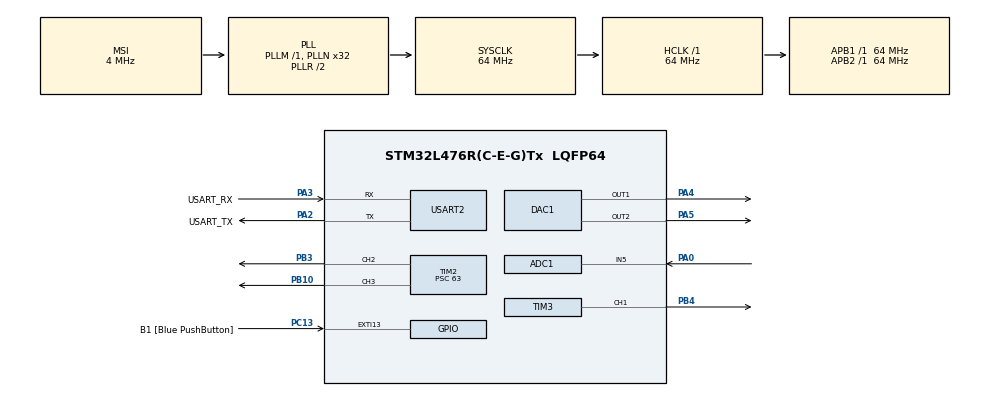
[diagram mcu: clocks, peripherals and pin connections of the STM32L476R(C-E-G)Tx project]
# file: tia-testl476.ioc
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ADC1.Channel-1\#ChannelRegularConversion=ADC_CHANNEL_5
ADC1.ClockPrescaler=ADC_CLOCK_ASYNC_DIV2
ADC1.DMAContinuousRequests=DISABLE
ADC1.EnableRegularConversion=ENABLE
ADC1.ExternalTrigConv=ADC_SOFTWARE_START
ADC1.NbrOfConversion=1
ADC1.NbrOfConversionFlag=1
ADC1.OffsetNumber-1\#ChannelRegularConversion=ADC_OFFSET_NONE
ADC1.Rank-1\#ChannelRegularConversion=1
ADC1.SamplingTime-1\#ChannelRegularConversion=ADC_SAMPLETIME_2CYCLES_5
ADC1.master=1
DAC1.DAC_Channel-DAC_OUT2=DAC_CHANNEL_2
DAC1.DAC_Trigger-DAC_OUT2=DAC_TRIGGER_T6_TRGO
Dma.ADC1.0.Direction=DMA_PERIPH_TO_MEMORY
Dma.ADC1.0.Instance=DMA1_Channel1
Dma.ADC1.0.MemDataAlignment=DMA_MDATAALIGN_HALFWORD
Dma.ADC1.0.MemInc=DMA_MINC_ENABLE
Dma.ADC1.0.Mode=DMA_CIRCULAR
Dma.ADC1.0.PeriphDataAlignment=DMA_PDATAALIGN_HALFWORD
Dma.ADC1.0.PeriphInc=DMA_PINC_DISABLE
Dma.ADC1.0.Priority=DMA_PRIORITY_LOW
Dma.DAC_CH2.1.Direction=DMA_MEMORY_TO_PERIPH
Dma.DAC_CH2.1.Instance=DMA1_Channel4
Dma.DAC_CH2.1.MemDataAlignment=DMA_MDATAALIGN_WORD
Dma.DAC_CH2.1.MemInc=DMA_MINC_ENABLE
Dma.DAC_CH2.1.Mode=DMA_CIRCULAR
Dma.DAC_CH2.1.PeriphDataAlignment=DMA_PDATAALIGN_WORD
Dma.DAC_CH2.1.PeriphInc=DMA_PINC_DISABLE
Dma.DAC_CH2.1.Priority=DMA_PRIORITY_LOW
Dma.Request0=ADC1
Dma.Request1=DAC_CH2
Mcu.Family=STM32L4
Mcu.Name=STM32L476R(C-E-G)Tx
Mcu.Package=LQFP64
NVIC.ADC1_2_IRQn=true\:0\:0\:false\:false\:true\:true\:true\:true
NVIC.DMA1_Channel1_IRQn=true\:0\:0\:false\:false\:true\:false\:true\:true
NVIC.DMA1_Channel4_IRQn=true\:0\:0\:false\:false\:true\:false\:true\:true
NVIC.PriorityGroup=NVIC_PRIORITYGROUP_4
NVIC.TIM6_DAC_IRQn=true\:0\:0\:false\:false\:true\:true\:true\:true
PA0.Signal=ADCx_IN5
PA13\ (JTMS-SWDIO).GPIO_Label=TMS
PA13\ (JTMS-SWDIO).Signal=SYS_JTMS-SWDIO
PA14\ (JTCK-SWCLK).GPIO_Label=TCK
PA14\ (JTCK-SWCLK).Signal=SYS_JTCK-SWCLK
PA2.GPIO_Label=USART_TX
PA2.GPIO_Mode=GPIO_MODE_AF_PP
PA2.GPIO_PuPd=GPIO_NOPULL
PA2.GPIO_Speed=GPIO_SPEED_FREQ_VERY_HIGH
PA2.Mode=Asynchronous
PA2.Signal=USART2_TX
PA3.GPIO_Label=USART_RX
PA3.GPIO_Mode=GPIO_MODE_AF_PP
PA3.GPIO_PuPd=GPIO_NOPULL
PA3.GPIO_Speed=GPIO_SPEED_FREQ_VERY_HIGH
PA3.Mode=Asynchronous
PA3.Signal=USART2_RX
PA4.Signal=COMP_DAC11_group
PA5.Signal=COMP_DAC12_group
PB10.Signal=S_TIM2_CH3
PB3\ (JTDO-TRACESWO).Signal=S_TIM2_CH2
PB4\ (NJTRST).Signal=S_TIM3_CH1
PC13.GPIO_Label=B1 [Blue PushButton]
PC13.GPIO_ModeDefaultEXTI=GPIO_MODE_IT_FALLING
PC13.GPIO_PuPd=GPIO_NOPULL
PC13.Signal=GPXTI13
PC14-OSC32_IN\ (PC14).Signal=RCC_OSC32_IN
PC15-OSC32_OUT\ (PC15).Signal=RCC_OSC32_OUT
PH0-OSC_IN\ (PH0).Signal=RCC_OSC_IN
PH1-OSC_OUT\ (PH1).Signal=RCC_OSC_OUT
ProjectManager.HeapSize=0x200
ProjectManager.StackSize=0x400
ProjectManager.TargetToolchain=STM32CubeIDE
RCC.ADCFreq_Value=8000000
RCC.AHBFreq_Value=64000000
RCC.APB1Freq_Value=64000000
RCC.APB1TimFreq_Value=64000000
RCC.APB2Freq_Value=64000000
RCC.APB2TimFreq_Value=64000000
RCC.CortexFreq_Value=64000000
RCC.HCLKFreq_Value=64000000
RCC.HSE_VALUE=8000000
RCC.HSI_VALUE=16000000
RCC.LSE_VALUE=32768
RCC.MSI_VALUE=4000000
RCC.PLLN=32
RCC.PLLSAI1N=16
RCC.PLLSAI1R=RCC_PLLR_DIV8
RCC.PREFETCH_ENABLE=1
RCC.SYSCLKFreq_VALUE=64000000
RCC.SYSCLKSource=RCC_SYSCLKSOURCE_PLLCLK
RCC.USBFreq_Value=32000000
RCC.VCOOutputFreq_Value=128000000
SH.ADCx_IN5.0=ADC1_IN5,IN5-Single-Ended
SH.COMP_DAC11_group.0=DAC1_OUT1,DAC_OUT1
SH.COMP_DAC12_group.0=DAC1_OUT2,DAC_OUT2
SH.S_TIM2_CH2.0=TIM2_CH2,PWM Generation2 CH2
SH.S_TIM2_CH3.0=TIM2_CH3,PWM Generation3 CH3
SH.S_TIM3_CH1.0=TIM3_CH1,PWM Generation1 CH1
TIM1.Period=9
TIM1.Prescaler=624
TIM1.TIM_MasterOutputTrigger=TIM_TRGO_UPDATE
TIM1.TIM_MasterOutputTrigger2=TIM_TRGO2_UPDATE
TIM1.TIM_MasterSlaveMode=TIM_MASTERSLAVEMODE_ENABLE
TIM2.Channel-PWM\ Generation2\ CH2=TIM_CHANNEL_2
TIM2.Channel-PWM\ Generation3\ CH3=TIM_CHANNEL_3
TIM2.Period=4999
TIM2.Prescaler=63
TIM3.Channel-PWM\ Generation1\ CH1=TIM_CHANNEL_1
TIM3.Period=4999
TIM3.Prescaler=63
TIM6.Period=4
TIM6.Prescaler=63
TIM6.TIM_MasterOutputTrigger=TIM_TRGO_UPDATE
USART2.VirtualMode-Asynchronous=VM_ASYNC
VP_TIM1_VS_ClockSourceINT.Mode=Internal
VP_TIM2_VS_ClockSourceINT.Mode=Internal
VP_TIM3_VS_ClockSourceINT.Mode=Internal
VP_TIM6_VS_ClockSourceINT.Mode=Enable_Timer
board=NUCLEO-L476RG

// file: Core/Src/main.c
/* USER CODE BEGIN Header */
/**
  ******************************************************************************
  * @file           : main.c
  * @brief          : Main program body
  ******************************************************************************
  * @attention
  *
  * Copyright (c) 2025 STMicroelectronics.
  * All rights reserved.
  *
  * This software is licensed under terms that can be found in the LICENSE file
  * in the root directory of this software component.
  * If no LICENSE file comes with this software, it is provided AS-IS.
  *
  ******************************************************************************
  */
/* USER CODE END Header */
#include "main.h"

/* USER CODE BEGIN Includes */
#define ARM_MATH_CM4
#include "arm_math.h"
#include "math.h"
#define PI 3.1415926
//amplitude of the dither voltage
#define DITHER_VOLTAGE 0.025
// sampling frequency must be multiple of the FFT_BUFFER_SIZE
#define FFT_BUFFER_SIZE 2048
// sampling frequency must be multiple of the FFT_BUFFER_SIZE
#define SAMPLE_FREQ 10240
// amount of times the fft is averaged before correcting the MZM dc bias
#define FFT_AVRAGE_COUNT 100
//Set 0 to disable polarization control
#define EnablePolControl 0
// the size of the steps the initial MZM bias sweep takes in dac values 0 = 0V, 4096 = 12V
#define STEP_SIZE_BIAS_SWEEP 16
// the size of the MZM bias correction when the algorithm runs 0 = 0V, 4096 = 12V
#define BIAS_CORRECTION_FACTOR 2
/* USER CODE END Includes */

ADC_HandleTypeDef hadc1;
DMA_HandleTypeDef hdma_adc1;

DAC_HandleTypeDef hdac1;
DMA_HandleTypeDef hdma_dac_ch2;

TIM_HandleTypeDef htim1;
TIM_HandleTypeDef htim2;
TIM_HandleTypeDef htim3;
TIM_HandleTypeDef htim6;

UART_HandleTypeDef huart2;

/* USER CODE BEGIN PV */

// calculate the sinewave of the dithersignal
uint32_t sine_val[100];
void calcsin ()
{
	for (int i=0; i<100; i++)
	{
    sine_val[i] = ((sin(i * 2 * PI / 100) + 1) / 2) * (DITHER_VOLTAGE * 4096 / 3.3) + 200;
	}
}

//reverse of the calcsin function, used in testing to get the phase angle by reading the state of the DAC
float getPhaseAngle(int val) {
    float SCALE = (DITHER_VOLTAGE * 4096.0f / 3.3f);
    // Reverse transform
    float sine_val = (2.0f * (val - 200) / SCALE) - 1.0f;
    // Clamp to valid range [-1, 1]
    if (sine_val < -1.0f || sine_val > 1.0f) {
        return NAN;
    }
    // Return phase angle in radians
    return asinf(sine_val);
}

// hanning window array creation
uint16_t hanning_array[FFT_BUFFER_SIZE];
void calchanning(){
	for (int i = 0; i < FFT_BUFFER_SIZE; i++) {
	        hanning_array[i] = (int)(0.5 * (1 - cos(2 * M_PI * i / (FFT_BUFFER_SIZE - 1))) * 4096);
	    }
}

//function to get sign of a value
int sgn(float x) {
    if(x>=0){
    	return 1;
    }
    else{
    	return -1;
    }
}
float arccot(float x) {
    return (PI / 2.0) - atan(x);
}

//FFT buffers for the double half buffer structure
arm_rfft_fast_instance_f32 fftHandler;
uint16_t ADC_val[FFT_BUFFER_SIZE*2] = {0};
float fftBufIn1[FFT_BUFFER_SIZE]= {0.0};
float fftBufIn2[FFT_BUFFER_SIZE]= {0.0};
float fftBufOut[FFT_BUFFER_SIZE];
//index of the current fft count
static int16_t fftIndex = 0;
//data buffer for serial debug
uint8_t data[50] = {0};
uint16_t fft_count = 0;
//avg used for noise
uint32_t avg =0;
//calculate which sample is 1khz
uint16_t sample_count_1khz = (1000*FFT_BUFFER_SIZE)/SAMPLE_FREQ;
uint32_t freq_mag[3]={0};
float avgPhaseShift = 0.0;

/* USER CODE END PV */

void SystemClock_Config(void);
static void MX_GPIO_Init(void);
static void MX_DMA_Init(void);
static void MX_ADC1_Init(void);
static void MX_DAC1_Init(void);
static void MX_TIM6_Init(void);
static void MX_TIM1_Init(void);
static void MX_USART2_UART_Init(void);
static void MX_TIM2_Init(void);
static void MX_TIM3_Init(void);
/* USER CODE BEGIN PFP */

void Sweep_PWM(TIM_HandleTypeDef *htim, uint32_t channel);
uint32_t Read_ADC(void);
//define pointers of the 3 timers used for pwm
TIM_HandleTypeDef *htim_array[3] = {&htim3, &htim2, &htim2};
//define pointers of the 3 channels used for pwm
uint32_t pwm_channels[3] = {TIM_CHANNEL_1, TIM_CHANNEL_2, TIM_CHANNEL_3};

/* USER CODE END PFP */

/* USER CODE BEGIN 0 */
//read 1 ADC value
uint32_t Read_ADC(void) {
    HAL_ADC_Start(&hadc1);
    HAL_ADC_PollForConversion(&hadc1, HAL_MAX_DELAY);
    return HAL_ADC_GetValue(&hadc1);
}

//sweep pwm values of the MPC
void Sweep_PWM(TIM_HandleTypeDef *htim, uint32_t channel) {
  //delay to wait for mpc to go to start
	HAL_Delay(1000);
	uint32_t best_pwm_value = 0;
	uint32_t min_adc_value = 0xFFFFFFFF;
	uint32_t adc_val = Read_ADC();
    //loop over all posible duty cycles
    for (uint16_t duty = 900; duty <= 2100; duty += 10) {
    	__HAL_TIM_SET_COMPARE(htim, channel, duty);
      HAL_Delay(5);
      //average 5 adc values
    	uint32_t adc_val = 0;
      for(uint16_t i= 0; i<5;i++){
        adc_val += Read_ADC();
        HAL_Delay(2);
      }
      //sprintf(data, "adc:%d, pwm:%d \r\n",adc_val, duty);
      //HAL_UART_Transmit(&huart2, data, strlen(data), 100);
      //save best value
      if (adc_val < min_adc_value) {
        	min_adc_value = adc_val;
        	best_pwm_value = duty;
      }

    }
    //sprintf(data, "best adc:%d, pwm:%d \r\n",min_adc_value, best_pwm_value );
    //HAL_UART_Transmit(&huart2, data, strlen(data), 100);
    //set pwm of paddle to best
    __HAL_TIM_SET_COMPARE(htim, channel, best_pwm_value);
    HAL_Delay(1000);
}
//First half buffer interupt handler
void HAL_ADC_ConvHalfCpltCallback(ADC_HandleTypeDef *hadc) {
        for (int i = 0; i < FFT_BUFFER_SIZE ; i++) {
	 	fftBufIn1[i] = (float)(ADC_val[i]*hanning_array[i]);
        }
        //sprintf(data, "half buffer\r\n\n ");
        //HAL_UART_Transmit(&huart2, data, strlen(data), 100);
        Calc_FFT(fftBufIn1);
}
//Second half buffer interupt handler
void HAL_ADC_ConvCpltCallback(ADC_HandleTypeDef *hadc) {
	 for (int i = 0; i < FFT_BUFFER_SIZE; i++) {
	  	fftBufIn2[i] = (float)(ADC_val[i]*hanning_array[i]);
        }
        //sprintf(data, "full buffer\r\n\n " );
        //HAL_UART_Transmit(&huart2, data, strlen(data), 100);
        Calc_FFT(fftBufIn2);
}

//function to calculate the fft of a buffer
void Calc_FFT(float *fftBufIn ){

	    arm_rfft_fast_f32(&fftHandler, fftBufIn, &fftBufOut,0);
		  float phase_1khz = 0.0f, phase_2khz = 0.0f;
		  //calc freqmagnitude for 1,2,3khz
		  float phase_shift_diff = 0.0;
		  float dacval = 0.0f;
		  for (int i = sample_count_1khz; i <= sample_count_1khz*3; i +=sample_count_1khz){
		        float real = fftBufOut[2*i ];
		        float imag = fftBufOut[(2*i) + 1];
		        float curVal = sqrtf((real * real) + (imag * imag));
		        float phase = atan2f(imag, real);
		        if (i == sample_count_1khz) {
		            phase_1khz = phase;
		        } else if (i == sample_count_1khz * 2) {
		            phase_2khz = phase;
                //because the sinewave generation and the fft speed are synchronized instead of the phase diff between generated sinewave and 2nd harmonic the phase of only 2nd harmonic is used
		            phase_shift_diff = phase_2khz;
		            //dacval= getPhaseAngle(HAL_DAC_GetValue(&hdac1, DAC1_CHANNEL_2));
		        }
			  freq_mag[i/sample_count_1khz-1]+=((uint32_t)curVal)/1000;
	  		  //sprintf(data, "%d \r\n", (uint16_t)(curVal));
	  		  //HAL_UART_Transmit(&huart2, data, strlen(data), 100);

		  }
		  //sprintf(data, "%d ", (int16_t)(phase_2khz*1000));
		  //HAL_UART_Transmit(&huart2, data, strlen(data), 100);

			  avgPhaseShift += phase_shift_diff;
			  fft_count++;
        //calculate average of the intire FFT
			  uint32_t avgTemp = 0;
			  for (int i = 4; i < FFT_BUFFER_SIZE; i +=2){
			  	float curVal = sqrtf((fftBufOut[i]*fftBufOut[i])+ (fftBufOut[i+1]*fftBufOut[i+1]));
			  	avgTemp += ((uint32_t)curVal)/1000;  // Convert float to
			  }
			  avg += ((uint32_t)avgTemp/((FFT_BUFFER_SIZE / 2)-2));

		  //code usefull for debugging, peaHz detector
/*
		  uint16_t freqIndex = 0;
		  float peakVal =0.0;
		  uint16_t peakHz = 0;
		  for (int i = 0; i < FFT_BUFFER_SIZE; i +=2){
			 float curVal = sqrtf((fftBufOut[i]*fftBufOut[i])+ (fftBufOut[i+1]*fftBufOut[i+1]));
			 uint16_t fft_value = (uint32_t)curVal;  // Convert float to

			 if(curVal> peakVal){
				 if(i>2){
					peakVal = curVal;
				 }
				 peakHz = (uint16_t)(((freqIndex)*SAMPLE_FREQ)/FFT_BUFFER_SIZE);
			 }
			freqIndex++;

		 }

		  sprintf(data, "peakhz: %d ",peakHz);
		  			 HAL_UART_Transmit(&huart2, data, strlen(data), 100);

	  		freqIndex = 0;
*/
}
/* USER CODE END 0 */

int main(void)
{

  /* MCU Configuration--------------------------------------------------------*/

  /* Reset of all peripherals, Initializes the Flash interface and the Systick. */
  HAL_Init();

  /* Configure the system clock */
  SystemClock_Config();

  /* Initialize all configured peripherals */
  MX_GPIO_Init();
  MX_DMA_Init();
  MX_ADC1_Init();
  MX_DAC1_Init();
  MX_TIM6_Init();
  MX_TIM1_Init();
  MX_USART2_UART_Init();
  MX_TIM2_Init();
  MX_TIM3_Init();
  /* USER CODE BEGIN 2 */

  //polarization control
  if(EnablePolControl){
	  HAL_TIM_PWM_Start(&htim2, TIM_CHANNEL_2);
	  HAL_TIM_PWM_Start(&htim2, TIM_CHANNEL_3);
	  HAL_TIM_PWM_Start(&htim3, TIM_CHANNEL_1);
	  for (uint8_t i = 0; i < 3; i++) {
	  		__HAL_TIM_SET_COMPARE(htim_array[i],pwm_channels[i],900);
	  		uint32_t adc_val = Read_ADC();
	  	  }
	  	HAL_Delay(1000);
	  	// intial sweep
	  	for (uint8_t i = 0; i < 3; i++) {
	  	     Sweep_PWM(htim_array[i],pwm_channels[i]);
	  	  }
	  	// sweep 3 extra times padel 2 and 3 for extra accuracy
	  	for (uint8_t i = 0; i < 2; i++) {
	  		__HAL_TIM_SET_COMPARE(htim_array[1],pwm_channels[1],900);
	  		HAL_Delay(500);
	  		Sweep_PWM(htim_array[1],pwm_channels[1]);
	  		__HAL_TIM_SET_COMPARE(htim_array[2],pwm_channels[2],900);
	  		HAL_Delay(500);
	  		Sweep_PWM(htim_array[2],pwm_channels[2]);
	  	}
  }

  //start sweep for mzm bias and calculate bias on midpoint between min and max output current
  uint32_t adc_val[256]={0};
  uint16_t dac_val[256]={0};
  uint16_t index_adc_val_smallest=0;
  uint16_t index_adc_val_highest=0;
  HAL_DAC_Start(&hdac1,DAC_CHANNEL_1);
  Read_ADC();
  for(int i = 0; i< 3000; i+=STEP_SIZE_BIAS_SWEEP){
	  //take avrage of 20 ADC values

	  HAL_DAC_SetValue(&hdac1, DAC_CHANNEL_1,DAC_ALIGN_12B_R, i);
	  for(int j = 0; j<20;j++){
		  HAL_Delay(2);
		  adc_val[i/STEP_SIZE_BIAS_SWEEP] += Read_ADC();
	  }
	  //sprintf(data,"set to:%d, adc: %d\r\n\n ",i, adc_val[i/STEP_SIZE_BIAS_SWEEP]);
	  //HAL_UART_Transmit(&huart2, data, strlen(data), 100);
	  //keep highest and lowest adc values
	  if(adc_val[i/STEP_SIZE_BIAS_SWEEP]>=adc_val[index_adc_val_highest]){
		  index_adc_val_highest = i/STEP_SIZE_BIAS_SWEEP;
	  }else if(adc_val[i/STEP_SIZE_BIAS_SWEEP]<=adc_val[index_adc_val_smallest]){
		  index_adc_val_smallest = i/STEP_SIZE_BIAS_SWEEP;
	  }
	  dac_val[i/STEP_SIZE_BIAS_SWEEP] = i;
	  HAL_Delay(10);
  }
  //set dac to quad bias point in middle of max/min
  uint16_t midpoint_dac_val = dac_val[(index_adc_val_highest + index_adc_val_smallest) / 2];
  //DC bias can be set to static value if sweep is unwanted
  //midpoint_dac_val = 1870;
  HAL_DAC_SetValue(&hdac1, DAC_CHANNEL_1, DAC_ALIGN_12B_R, midpoint_dac_val  );
  sprintf(data, "bias set as:%d\r\n\n ",midpoint_dac_val);
  HAL_UART_Transmit(&huart2, data, strlen(data), 100);

  //reset the adc
  //initialize adc for running in continous mode, this is normaly auto generated but because 2 different modes are used extra adc_init is added
  MX_ADC1_Init2();

  HAL_TIM_Base_Start(&htim6);
  calcsin();
  calchanning();
  HAL_ADCEx_Calibration_Start(&hadc1, ADC_SINGLE_ENDED);
  //start dither generation
  HAL_DAC_Start_DMA(&hdac1, DAC1_CHANNEL_2, sine_val, 100, DAC_ALIGN_12B_R);
  //start double buffer
  HAL_ADC_Start_DMA(&hadc1,(uint32_t *)ADC_val,FFT_BUFFER_SIZE*2);
  //init fft
  arm_rfft_fast_init_f32(&fftHandler,FFT_BUFFER_SIZE);
  HAL_TIM_Base_Start(&htim1);

  /* USER CODE END 2 */

  /* Infinite loop */
  /* USER CODE BEGIN WHILE */
  uint16_t dac_val_tone_bias[3]={0};
  uint32_t adc_val_tone_bias[3]={0};
  int16_t sweep_count = -1;
  uint16_t prev_bias = 0;
  while (1)
  {

	  if(fft_count>=FFT_AVRAGE_COUNT){
		  float phaseShift = avgPhaseShift/ FFT_AVRAGE_COUNT;
		  fft_count=0;
		  //sprintf(data, "%dfor  %d 1khz:%d 2khz:%d 3khz:%d\r\n ",sweep_count,prev_bias,freq_mag[0], freq_mag[1] ,freq_mag[2]);
		  //HAL_UART_Transmit(&huart2, data, strlen(data), 100);

      //avg can be used to look at the noise level of the TIA
			avg = avg/100;
			//sprintf(data, "avg: %d\r\n ",avg);
			//HAL_UART_Transmit(&huart2, data, strlen(data), 100);
      avg = 0;
      //correct bias according to the phase shift
			float correction2 =- BIAS_CORRECTION_FACTOR * sgn(phaseShift);
			midpoint_dac_val = midpoint_dac_val - (int16_t)(correction2);
      // print value of the phase shift and new DAC value 0 ~= 0V, 4096 ~12V
		  sprintf(data, "phase: %d new dac val: %d\r\n ",(int16_t)(phaseShift*1000), midpoint_dac_val);
		  HAL_UART_Transmit(&huart2, data, strlen(data), 100);
		  HAL_DAC_SetValue(&hdac1, DAC_CHANNEL_1, DAC_ALIGN_12B_R, midpoint_dac_val);
      //reset fft
	  		fft_count=0;
	  		avgPhaseShift = 0;
			  for(int i =0;i<=2;i++){
				  freq_mag[i]=0;
			  }
			  fft_count=0;
	  }

//preterb and observe algorithm, would not recomend above algorithm works better :)
/*
	  //for(int sweep = midpoint_dac_val-STEP_SIZE_BIAS_SWEEP; i<midpoint_dac_val+STEP_SIZE_BIAS_SWEEP; i+=STEP_SIZE_BIAS_SWEEP)
	  //sweep through best known value of bias, one below and one above

	  if(fft_count>=FFT_AVRAGE_COUNT){
		  sprintf(data, "main");
		  HAL_UART_Transmit(&huart2, data, strlen(data), 100);
		  float phaseShift = avgPhaseShift/= fft_count;

		  fft_count=0;
		    if (phaseShift> PI) {
		    	phaseShift -= 2 * PI;
		    } else if (phaseShift < -PI) {
		    	phaseShift+= 2 * PI;
		    }
		  // divided by 4096# points dac multiplied by non inverting amp 14.124 = 3.3V*82k/25k+1
		  float Vpi = ((midpoint_dac_val*14.124)/4096.0)*2;
		  float Vac = 0.66;
		  float correction =(Vpi/PI*arccot((freq_mag[0]*bessel_jn(1,((Vac*PI)/Vpi)))/(freq_mag[1]*bessel_jn(2,((Vac*PI)/Vpi))))*sgn(avgPhaseShift))-(Vpi/2);
		  sprintf(data, "correction: %d\r\n\n ",(uint16_t)correction);
		  HAL_UART_Transmit(&huart2, data, strlen(data), 100);

		  midpoint_dac_val = midpoint_dac_val + (uint16_t)((correction/14.124)*4096);
		  HAL_DAC_SetValue(&hdac1, DAC_CHANNEL_1, DAC_ALIGN_12B_R, midpoint_dac_val);

		  //process data here

	  		fft_count=0;
	  		avgPhaseShift = 0;
			  for(int i =0;i<=2;i++){
				  freq_mag[i]=0;
			  }
			  fft_count=0;
	  }
	  */

    /* USER CODE END WHILE */

  }
}

void SystemClock_Config(void)
{
  RCC_OscInitTypeDef RCC_OscInitStruct = {0};
  RCC_ClkInitTypeDef RCC_ClkInitStruct = {0};

  /** Configure the main internal regulator output voltage
  */
  if (HAL_PWREx_ControlVoltageScaling(PWR_REGULATOR_VOLTAGE_SCALE1) != HAL_OK)
  {
    Error_Handler();
  }

  /** Initializes the RCC Oscillators according to the specified parameters
  * in the RCC_OscInitTypeDef structure.
  */
  RCC_OscInitStruct.OscillatorType = RCC_OSCILLATORTYPE_MSI;
  RCC_OscInitStruct.MSIState = RCC_MSI_ON;
  RCC_OscInitStruct.MSICalibrationValue = 0;
  RCC_OscInitStruct.MSIClockRange = RCC_MSIRANGE_6;
  RCC_OscInitStruct.PLL.PLLState = RCC_PLL_ON;
  RCC_OscInitStruct.PLL.PLLSource = RCC_PLLSOURCE_MSI;
  RCC_OscInitStruct.PLL.PLLM = 1;
  RCC_OscInitStruct.PLL.PLLN = 32;
  RCC_OscInitStruct.PLL.PLLP = RCC_PLLP_DIV7;
  RCC_OscInitStruct.PLL.PLLQ = RCC_PLLQ_DIV2;
  RCC_OscInitStruct.PLL.PLLR = RCC_PLLR_DIV2;
  if (HAL_RCC_OscConfig(&RCC_OscInitStruct) != HAL_OK)
  {
    Error_Handler();
  }

  /** Initializes the CPU, AHB and APB buses clocks
  */
  RCC_ClkInitStruct.ClockType = RCC_CLOCKTYPE_HCLK|RCC_CLOCKTYPE_SYSCLK
                              |RCC_CLOCKTYPE_PCLK1|RCC_CLOCKTYPE_PCLK2;
  RCC_ClkInitStruct.SYSCLKSource = RCC_SYSCLKSOURCE_PLLCLK;
  RCC_ClkInitStruct.AHBCLKDivider = RCC_SYSCLK_DIV1;
  RCC_ClkInitStruct.APB1CLKDivider = RCC_HCLK_DIV1;
  RCC_ClkInitStruct.APB2CLKDivider = RCC_HCLK_DIV1;

  if (HAL_RCC_ClockConfig(&RCC_ClkInitStruct, FLASH_LATENCY_3) != HAL_OK)
  {
    Error_Handler();
  }
}

static void MX_ADC1_Init(void)
{

  ADC_MultiModeTypeDef multimode = {0};
  ADC_ChannelConfTypeDef sConfig = {0};

  /** Common config
  */
  hadc1.Instance = ADC1;
  hadc1.Init.ClockPrescaler = ADC_CLOCK_ASYNC_DIV2;
  hadc1.Init.Resolution = ADC_RESOLUTION_12B;
  hadc1.Init.DataAlign = ADC_DATAALIGN_RIGHT;
  hadc1.Init.ScanConvMode = ADC_SCAN_DISABLE;
  hadc1.Init.EOCSelection = ADC_EOC_SINGLE_CONV;
  hadc1.Init.LowPowerAutoWait = DISABLE;
  hadc1.Init.ContinuousConvMode = DISABLE;
  hadc1.Init.NbrOfConversion = 1;
  hadc1.Init.DiscontinuousConvMode = DISABLE;
  hadc1.Init.ExternalTrigConv = ADC_SOFTWARE_START;
  hadc1.Init.ExternalTrigConvEdge = ADC_EXTERNALTRIGCONVEDGE_NONE;
  hadc1.Init.DMAContinuousRequests = DISABLE;
  hadc1.Init.Overrun = ADC_OVR_DATA_PRESERVED;
  hadc1.Init.OversamplingMode = DISABLE;
  if (HAL_ADC_Init(&hadc1) != HAL_OK)
  {
    Error_Handler();
  }

  /** Configure the ADC multi-mode
  */
  multimode.Mode = ADC_MODE_INDEPENDENT;
  if (HAL_ADCEx_MultiModeConfigChannel(&hadc1, &multimode) != HAL_OK)
  {
    Error_Handler();
  }

  /** Configure Regular Channel
  */
  sConfig.Channel = ADC_CHANNEL_5;
  sConfig.Rank = ADC_REGULAR_RANK_1;
  sConfig.SamplingTime = ADC_SAMPLETIME_2CYCLES_5;
  sConfig.SingleDiff = ADC_SINGLE_ENDED;
  sConfig.OffsetNumber = ADC_OFFSET_NONE;
  sConfig.Offset = 0;
  if (HAL_ADC_ConfigChannel(&hadc1, &sConfig) != HAL_OK)
  {
    Error_Handler();
  }

}

static void MX_DAC1_Init(void)
{

  DAC_ChannelConfTypeDef sConfig = {0};

  /** DAC Initialization
  */
  hdac1.Instance = DAC1;
  if (HAL_DAC_Init(&hdac1) != HAL_OK)
  {
    Error_Handler();
  }

  /** DAC channel OUT1 config
  */
  sConfig.DAC_SampleAndHold = DAC_SAMPLEANDHOLD_DISABLE;
  sConfig.DAC_Trigger = DAC_TRIGGER_NONE;
  sConfig.DAC_OutputBuffer = DAC_OUTPUTBUFFER_ENABLE;
  sConfig.DAC_ConnectOnChipPeripheral = DAC_CHIPCONNECT_DISABLE;
  sConfig.DAC_UserTrimming = DAC_TRIMMING_FACTORY;
  if (HAL_DAC_ConfigChannel(&hdac1, &sConfig, DAC_CHANNEL_1) != HAL_OK)
  {
    Error_Handler();
  }

  /** DAC channel OUT2 config
  */
  sConfig.DAC_Trigger = DAC_TRIGGER_T6_TRGO;
  if (HAL_DAC_ConfigChannel(&hdac1, &sConfig, DAC_CHANNEL_2) != HAL_OK)
  {
    Error_Handler();
  }

}

static void MX_TIM1_Init(void)
{

  TIM_ClockConfigTypeDef sClockSourceConfig = {0};
  TIM_MasterConfigTypeDef sMasterConfig = {0};

  htim1.Instance = TIM1;
  htim1.Init.Prescaler = 624;
  htim1.Init.CounterMode = TIM_COUNTERMODE_UP;
  htim1.Init.Period = 9;
  htim1.Init.ClockDivision = TIM_CLOCKDIVISION_DIV1;
  htim1.Init.RepetitionCounter = 0;
  htim1.Init.AutoReloadPreload = TIM_AUTORELOAD_PRELOAD_DISABLE;
  if (HAL_TIM_Base_Init(&htim1) != HAL_OK)
  {
    Error_Handler();
  }
  sClockSourceConfig.ClockSource = TIM_CLOCKSOURCE_INTERNAL;
  if (HAL_TIM_ConfigClockSource(&htim1, &sClockSourceConfig) != HAL_OK)
  {
    Error_Handler();
  }
  sMasterConfig.MasterOutputTrigger = TIM_TRGO_UPDATE;
  sMasterConfig.MasterOutputTrigger2 = TIM_TRGO2_UPDATE;
  sMasterConfig.MasterSlaveMode = TIM_MASTERSLAVEMODE_ENABLE;
  if (HAL_TIMEx_MasterConfigSynchronization(&htim1, &sMasterConfig) != HAL_OK)
  {
    Error_Handler();
  }

}

static void MX_TIM2_Init(void)
{

  TIM_ClockConfigTypeDef sClockSourceConfig = {0};
  TIM_MasterConfigTypeDef sMasterConfig = {0};
  TIM_OC_InitTypeDef sConfigOC = {0};

  htim2.Instance = TIM2;
  htim2.Init.Prescaler = 63;
  htim2.Init.CounterMode = TIM_COUNTERMODE_UP;
  htim2.Init.Period = 4999;
  htim2.Init.ClockDivision = TIM_CLOCKDIVISION_DIV1;
  htim2.Init.AutoReloadPreload = TIM_AUTORELOAD_PRELOAD_DISABLE;
  if (HAL_TIM_Base_Init(&htim2) != HAL_OK)
  {
    Error_Handler();
  }
  sClockSourceConfig.ClockSource = TIM_CLOCKSOURCE_INTERNAL;
  if (HAL_TIM_ConfigClockSource(&htim2, &sClockSourceConfig) != HAL_OK)
  {
    Error_Handler();
  }
  if (HAL_TIM_PWM_Init(&htim2) != HAL_OK)
  {
    Error_Handler();
  }
  sMasterConfig.MasterOutputTrigger = TIM_TRGO_RESET;
  sMasterConfig.MasterSlaveMode = TIM_MASTERSLAVEMODE_DISABLE;
  if (HAL_TIMEx_MasterConfigSynchronization(&htim2, &sMasterConfig) != HAL_OK)
  {
    Error_Handler();
  }
  sConfigOC.OCMode = TIM_OCMODE_PWM1;
  sConfigOC.Pulse = 0;
  sConfigOC.OCPolarity = TIM_OCPOLARITY_HIGH;
  sConfigOC.OCFastMode = TIM_OCFAST_DISABLE;
  if (HAL_TIM_PWM_ConfigChannel(&htim2, &sConfigOC, TIM_CHANNEL_2) != HAL_OK)
  {
    Error_Handler();
  }
  if (HAL_TIM_PWM_ConfigChannel(&htim2, &sConfigOC, TIM_CHANNEL_3) != HAL_OK)
  {
    Error_Handler();
  }
  HAL_TIM_MspPostInit(&htim2);

}

static void MX_TIM3_Init(void)
{

  TIM_ClockConfigTypeDef sClockSourceConfig = {0};
  TIM_MasterConfigTypeDef sMasterConfig = {0};
  TIM_OC_InitTypeDef sConfigOC = {0};

  htim3.Instance = TIM3;
  htim3.Init.Prescaler = 63;
  htim3.Init.CounterMode = TIM_COUNTERMODE_UP;
  htim3.Init.Period = 4999;
  htim3.Init.ClockDivision = TIM_CLOCKDIVISION_DIV1;
  htim3.Init.AutoReloadPreload = TIM_AUTORELOAD_PRELOAD_DISABLE;
  if (HAL_TIM_Base_Init(&htim3) != HAL_OK)
  {
    Error_Handler();
  }
  sClockSourceConfig.ClockSource = TIM_CLOCKSOURCE_INTERNAL;
  if (HAL_TIM_ConfigClockSource(&htim3, &sClockSourceConfig) != HAL_OK)
  {
    Error_Handler();
  }
  if (HAL_TIM_PWM_Init(&htim3) != HAL_OK)
  {
    Error_Handler();
  }
  sMasterConfig.MasterOutputTrigger = TIM_TRGO_RESET;
  sMasterConfig.MasterSlaveMode = TIM_MASTERSLAVEMODE_DISABLE;
  if (HAL_TIMEx_MasterConfigSynchronization(&htim3, &sMasterConfig) != HAL_OK)
  {
    Error_Handler();
  }
  sConfigOC.OCMode = TIM_OCMODE_PWM1;
  sConfigOC.Pulse = 0;
  sConfigOC.OCPolarity = TIM_OCPOLARITY_HIGH;
  sConfigOC.OCFastMode = TIM_OCFAST_DISABLE;
  if (HAL_TIM_PWM_ConfigChannel(&htim3, &sConfigOC, TIM_CHANNEL_1) != HAL_OK)
  {
    Error_Handler();
  }
  HAL_TIM_MspPostInit(&htim3);

}

static void MX_TIM6_Init(void)
{

  TIM_MasterConfigTypeDef sMasterConfig = {0};

  htim6.Instance = TIM6;
  htim6.Init.Prescaler = 63;
  htim6.Init.CounterMode = TIM_COUNTERMODE_UP;
  htim6.Init.Period = 9;
  htim6.Init.AutoReloadPreload = TIM_AUTORELOAD_PRELOAD_DISABLE;
  if (HAL_TIM_Base_Init(&htim6) != HAL_OK)
  {
    Error_Handler();
  }
  sMasterConfig.MasterOutputTrigger = TIM_TRGO_UPDATE;
  sMasterConfig.MasterSlaveMode = TIM_MASTERSLAVEMODE_DISABLE;
  if (HAL_TIMEx_MasterConfigSynchronization(&htim6, &sMasterConfig) != HAL_OK)
  {
    Error_Handler();
  }

}

static void MX_USART2_UART_Init(void)
{

  huart2.Instance = USART2;
  huart2.Init.BaudRate = 115200;
  huart2.Init.WordLength = UART_WORDLENGTH_8B;
  huart2.Init.StopBits = UART_STOPBITS_1;
  huart2.Init.Parity = UART_PARITY_NONE;
  huart2.Init.Mode = UART_MODE_TX_RX;
  huart2.Init.HwFlowCtl = UART_HWCONTROL_NONE;
  huart2.Init.OverSampling = UART_OVERSAMPLING_16;
  huart2.Init.OneBitSampling = UART_ONE_BIT_SAMPLE_DISABLE;
  huart2.AdvancedInit.AdvFeatureInit = UART_ADVFEATURE_NO_INIT;
  if (HAL_UART_Init(&huart2) != HAL_OK)
  {
    Error_Handler();
  }

}

static void MX_DMA_Init(void)
{

  /* DMA controller clock enable */
  __HAL_RCC_DMA1_CLK_ENABLE();

  /* DMA interrupt init */
  /* DMA1_Channel1_IRQn interrupt configuration */
  HAL_NVIC_SetPriority(DMA1_Channel1_IRQn, 0, 0);
  HAL_NVIC_EnableIRQ(DMA1_Channel1_IRQn);
  /* DMA1_Channel4_IRQn interrupt configuration */
  HAL_NVIC_SetPriority(DMA1_Channel4_IRQn, 0, 0);
  HAL_NVIC_EnableIRQ(DMA1_Channel4_IRQn);

}

static void MX_GPIO_Init(void)
{
  GPIO_InitTypeDef GPIO_InitStruct = {0};

  /* GPIO Ports Clock Enable */
  __HAL_RCC_GPIOC_CLK_ENABLE();
  __HAL_RCC_GPIOH_CLK_ENABLE();
  __HAL_RCC_GPIOA_CLK_ENABLE();
  __HAL_RCC_GPIOB_CLK_ENABLE();

  /*Configure GPIO pin : B1_Pin */
  GPIO_InitStruct.Pin = B1_Pin;
  GPIO_InitStruct.Mode = GPIO_MODE_IT_FALLING;
  GPIO_InitStruct.Pull = GPIO_NOPULL;
  HAL_GPIO_Init(B1_GPIO_Port, &GPIO_InitStruct);

}

/* USER CODE BEGIN 4 */
void MX_ADC1_Init2(void)
{

  /* USER CODE BEGIN ADC1_Init 0 */

  /* USER CODE END ADC1_Init 0 */

  ADC_MultiModeTypeDef multimode = {0};
  ADC_ChannelConfTypeDef sConfig = {0};

  /* USER CODE BEGIN ADC1_Init 1 */

  /* USER CODE END ADC1_Init 1 */

  /** Common config
  */
  hadc1.Instance = ADC1;
  hadc1.Init.ClockPrescaler = ADC_CLOCK_ASYNC_DIV2;
  hadc1.Init.Resolution = ADC_RESOLUTION_12B;
  hadc1.Init.DataAlign = ADC_DATAALIGN_RIGHT;
  hadc1.Init.ScanConvMode = ADC_SCAN_DISABLE;
  hadc1.Init.EOCSelection = ADC_EOC_SINGLE_CONV;
  hadc1.Init.LowPowerAutoWait = DISABLE;
  hadc1.Init.ContinuousConvMode = DISABLE;
  hadc1.Init.NbrOfConversion = 1;
  hadc1.Init.DiscontinuousConvMode = DISABLE;
  hadc1.Init.ExternalTrigConv = ADC_EXTERNALTRIG_T1_TRGO;
  hadc1.Init.ExternalTrigConvEdge = ADC_EXTERNALTRIGCONVEDGE_RISING;
  hadc1.Init.DMAContinuousRequests = ENABLE;
  hadc1.Init.Overrun = ADC_OVR_DATA_PRESERVED;
  hadc1.Init.OversamplingMode = DISABLE;
  if (HAL_ADC_Init(&hadc1) != HAL_OK)
  {
    Error_Handler();
  }

  /** Configure the ADC multi-mode
  */
  multimode.Mode = ADC_MODE_INDEPENDENT;
  if (HAL_ADCEx_MultiModeConfigChannel(&hadc1, &multimode) != HAL_OK)
  {
    Error_Handler();
  }

  /** Configure Regular Channel
  */
  sConfig.Channel = ADC_CHANNEL_5;
  sConfig.Rank = ADC_REGULAR_RANK_1;
  sConfig.SamplingTime = ADC_SAMPLETIME_2CYCLES_5;
  sConfig.SingleDiff = ADC_SINGLE_ENDED;
  sConfig.OffsetNumber = ADC_OFFSET_NONE;
  sConfig.Offset = 0;
  if (HAL_ADC_ConfigChannel(&hadc1, &sConfig) != HAL_OK)
  {
    Error_Handler();
  }
  /* USER CODE BEGIN ADC1_Init 2 */

  /* USER CODE END ADC1_Init 2 */

}

/* USER CODE END 4 */

void Error_Handler(void)
{
  __disable_irq();
  while (1)
  {
  }
}
